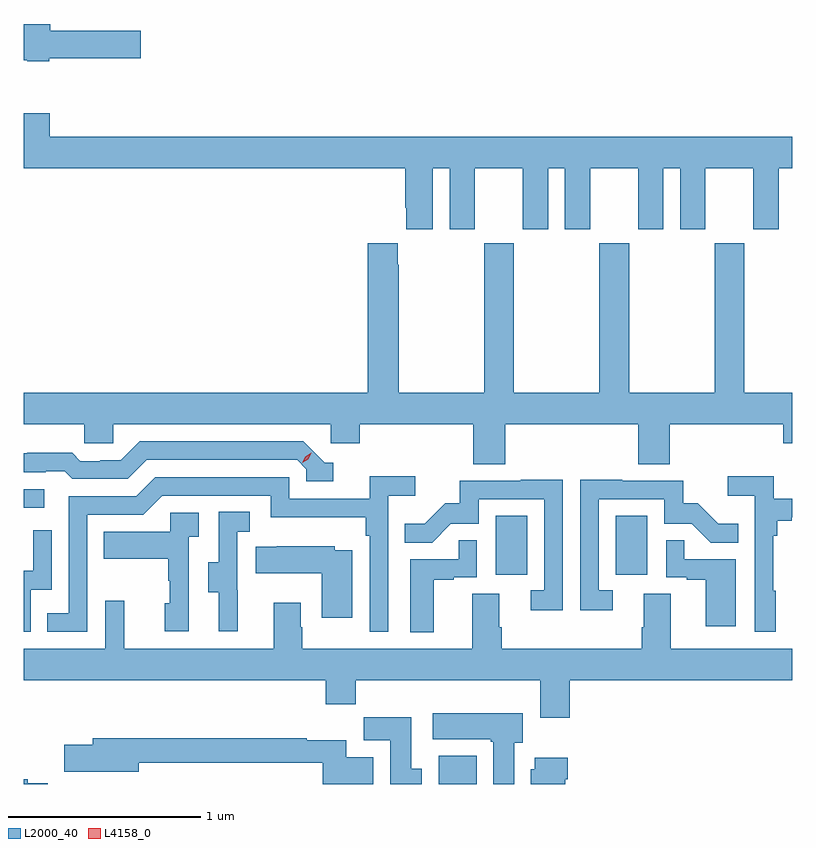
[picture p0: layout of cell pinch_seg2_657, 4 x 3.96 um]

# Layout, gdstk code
import gdstk
lib = gdstk.Library(unit=1e-6, precision=1e-09)
def R(c, l, rs):  # rectangles x0, y0, x1, y1
    for r in rs: c.add(gdstk.rectangle(r[:2], r[2:], *l))
def P(c, l, *ps):  # polygons
    for p in ps: c.add(gdstk.Polygon(p, *l))
L2000_40 = (2000, 40)
L4158_0 = (4158, 0)

pinch_seg2_657 = lib.new_cell('pinch_seg2_657')
R(pinch_seg2_657, L2000_40, [(1023.539,592.484,1023.736,592.63), (1023.836,593.574,1024,593.881), (1024.46,593.574,1024.624,593.881), (1021.379,593.922,1021.486,594.018)])
P(pinch_seg2_657, L2000_40, [(1021.512,596.263),(1021.987,596.263),(1021.987,596.405),(1021.516,596.405),(1021.516,596.44),(1021.379,596.44),(1021.379,596.252),(1021.398,596.252),(1021.398,596.246),(1021.512,596.246)],
  [(1023.508,595.688),(1023.596,595.688),(1023.596,595.371),(1023.727,595.371),(1023.727,595.688),(1023.977,595.688),(1023.977,595.371),(1024.108,595.371),(1024.108,595.688),(1024.196,595.688),(1024.196,595.371),(1024.327,595.371),(1024.327,595.688),(1024.577,595.688),(1024.577,595.371),(1024.708,595.371),(1024.708,595.688),(1024.796,595.688),(1024.796,595.371),(1024.927,595.371),(1024.927,595.688),(1025.177,595.688),(1025.177,595.371),(1025.308,595.371),(1025.308,595.688),(1025.379,595.688),(1025.379,595.852),(1021.514,595.852),(1021.514,595.976),(1021.379,595.976),(1021.379,595.688),(1023.365,595.688),(1023.365,595.483),(1023.371,595.483),(1023.371,595.371),(1023.508,595.371)],
  [(1025.13,595.3),(1024.975,595.3),(1024.975,594.52),(1024.53,594.52),(1024.53,595.3),(1024.375,595.3),(1024.375,594.52),(1023.93,594.52),(1023.93,595.3),(1023.775,595.3),(1023.775,594.52),(1023.33,594.52),(1023.33,595.187),(1023.325,595.187),(1023.325,595.3),(1023.17,595.3),(1023.17,594.52),(1021.379,594.52),(1021.379,594.356),(1021.695,594.356),(1021.695,594.258),(1021.845,594.258),(1021.845,594.356),(1022.976,594.356),(1022.976,594.258),(1023.128,594.258),(1023.128,594.356),(1023.719,594.356),(1023.719,594.148),(1023.884,594.148),(1023.884,594.356),(1024.577,594.356),(1024.577,594.148),(1024.742,594.148),(1024.742,594.356),(1025.333,594.356),(1025.333,594.258),(1025.379,594.258),(1025.379,594.52),(1025.13,594.52)],
  [(1022.989,594.156),(1022.946,594.156),(1022.835,594.267),(1021.982,594.267),(1021.883,594.168),(1021.776,594.168),(1021.776,594.165),(1021.673,594.165),(1021.631,594.208),(1021.398,594.208),(1021.398,594.205),(1021.379,594.205),(1021.379,594.108),(1021.493,594.108),(1021.493,594.111),(1021.592,594.111),(1021.631,594.072),(1021.92,594.072),(1022.019,594.171),(1022.802,594.171),(1022.85,594.123),(1022.85,594.06),(1022.989,594.06)],
  [(1021.71,593.886),(1022.001,593.886),(1022.1,593.985),(1022.664,593.985),(1022.664,593.873),(1023.16,593.873),(1023.16,593.777),(1023.18,593.777),(1023.18,593.277),(1023.276,593.277),(1023.276,593.984),(1023.418,593.984),(1023.418,594.086),(1023.179,594.086),(1023.179,593.97),(1022.76,593.97),(1022.76,594.081),(1022.063,594.081),(1021.964,593.982),(1021.614,593.982),(1021.614,593.373),(1021.501,593.373),(1021.501,593.277),(1021.71,593.277)],
  [(1025.293,593.489),(1025.281,593.489),(1025.281,593.777),(1025.3,593.777),(1025.3,593.854),(1025.377,593.854),(1025.377,593.873),(1025.379,593.873),(1025.379,593.97),(1025.282,593.97),(1025.282,594.086),(1025.043,594.086),(1025.043,593.984),(1025.184,593.984),(1025.184,593.277),(1025.293,593.277)],
  [(1024.185,594.068),(1023.967,594.068),(1023.967,594.063),(1023.649,594.063),(1023.649,593.946),(1023.572,593.946),(1023.465,593.839),(1023.361,593.839),(1023.361,593.74),(1023.504,593.74),(1023.602,593.838),(1023.747,593.838),(1023.747,593.967),(1024.089,593.967),(1024.089,593.493),(1024.017,593.493),(1024.017,593.388),(1024.185,593.388)],
  [(1024.444,593.493),(1024.371,593.493),(1024.371,593.967),(1024.713,593.967),(1024.713,593.838),(1024.857,593.838),(1024.955,593.74),(1025.099,593.74),(1025.099,593.839),(1024.995,593.839),(1024.888,593.946),(1024.812,593.946),(1024.812,594.063),(1024.493,594.063),(1024.493,594.068),(1024.275,594.068),(1024.275,593.388),(1024.444,593.388)],
  [(1022.492,593.493),(1022.49,593.493),(1022.49,593.797),(1022.554,593.797),(1022.554,593.9),(1022.394,593.9),(1022.394,593.637),(1022.339,593.637),(1022.339,593.482),(1022.393,593.482),(1022.393,593.28),(1022.492,593.28)],
  [(1022.238,593.771),(1022.29,593.771),(1022.29,593.895),(1022.142,593.895),(1022.142,593.797),(1021.795,593.797),(1021.795,593.657),(1022.13,593.657),(1022.13,593.543),(1022.14,593.543),(1022.14,593.424),(1022.114,593.424),(1022.114,593.28),(1022.238,593.28)],
  [(1021.416,593.496),(1021.524,593.496),(1021.524,593.806),(1021.428,593.806),(1021.428,593.594),(1021.379,593.594),(1021.379,593.277),(1021.416,593.277)],
  [(1023.514,593.547),(1023.617,593.547),(1023.617,593.559),(1023.738,593.559),(1023.738,593.753),(1023.643,593.753),(1023.643,593.655),(1023.392,593.655),(1023.392,593.273),(1023.514,593.273)],
  [(1025.086,593.655),(1024.817,593.655),(1024.817,593.753),(1024.722,593.753),(1024.722,593.559),(1024.829,593.559),(1024.829,593.547),(1024.928,593.547),(1024.928,593.304),(1025.086,593.304)],
  [(1023.088,593.701),(1022.997,593.701),(1022.997,593.722),(1022.695,593.722),(1022.695,593.719),(1022.587,593.719),(1022.587,593.582),(1022.93,593.582),(1022.93,593.349),(1023.088,593.349)],
  [(1024.22,593.024),(1025.379,593.024),(1025.379,593.188),(1024.747,593.188),(1024.747,593.474),(1024.607,593.474),(1024.607,593.3),(1024.595,593.3),(1024.595,593.188),(1023.866,593.188),(1023.866,593.3),(1023.853,593.3),(1023.853,593.474),(1023.713,593.474),(1023.713,593.188),(1022.829,593.188),(1022.829,593.3),(1022.821,593.3),(1022.821,593.428),(1022.681,593.428),(1022.681,593.188),(1021.901,593.188),(1021.901,593.437),(1021.803,593.437),(1021.803,593.188),(1021.379,593.188),(1021.379,593.024),(1022.951,593.024),(1022.951,592.9),(1023.107,592.9),(1023.107,593.024),(1024.067,593.024),(1024.067,592.83),(1024.22,592.83)],
  [(1023.931,592.698),(1023.976,592.698),(1023.976,592.852),(1023.507,592.852),(1023.507,592.718),(1023.811,592.718),(1023.811,592.705),(1023.824,592.705),(1023.824,592.484),(1023.931,592.484)],
  [(1023.451,592.564),(1023.397,592.564),(1023.397,592.831),(1023.148,592.831),(1023.148,592.712),(1023.287,592.712),(1023.287,592.484),(1023.451,592.484)],
  [(1023.199,592.624),(1023.058,592.624),(1023.058,592.712),(1022.852,592.712),(1022.852,592.723),(1021.739,592.723),(1021.739,592.689),(1021.59,592.689),(1021.59,592.547),(1021.978,592.547),(1021.978,592.594),(1022.936,592.594),(1022.936,592.484),(1023.199,592.484)],
  [(1024.198,592.508),(1024.211,592.508),(1024.211,592.621),(1024.04,592.621),(1024.04,592.56),(1024.019,592.56),(1024.019,592.484),(1024.198,592.484)],
  [(1021.504,592.488),(1021.4,592.488),(1021.4,592.508),(1021.379,592.508),(1021.379,592.484),(1021.504,592.484)])
P(pinch_seg2_657, L4158_0, [(1022.828,594.155),(1022.828,594.155),(1022.844,594.188),(1022.875,594.207),(1022.875,594.207),(1022.875,594.207),(1022.859,594.174),(1022.828,594.155)])

lib.write_gds('pinch_seg2_657.gds')
